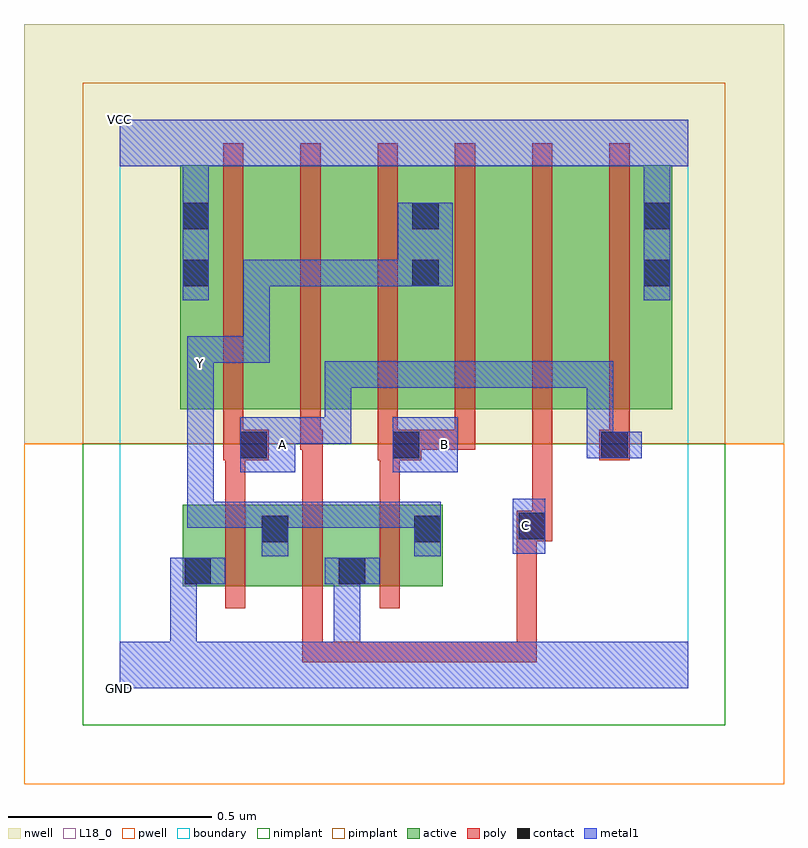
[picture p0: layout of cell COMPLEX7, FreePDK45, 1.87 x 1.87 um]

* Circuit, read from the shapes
.subckt COMPLEX7 A B C GND VCC Y
M1 Y A GND VSUBS nfet w=0.2u l=0.05u
M2 GND C Y VSUBS nfet w=0.2u l=0.05u
M3 Y B GND VSUBS nfet w=0.2u l=0.05u
M4 n1 A VCC n2 pfet w=0.6u l=0.05u
M5 n3 C n1 n2 pfet w=0.6u l=0.05u
M6 Y B n3 n2 pfet w=0.6u l=0.05u
M7 n4 B Y n2 pfet w=0.6u l=0.05u
M8 n5 C n4 n2 pfet w=0.6u l=0.05u
M9 VCC A n5 n2 pfet w=0.6u l=0.05u
.ends

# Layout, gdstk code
import gdstk
lib = gdstk.Library(unit=1e-6, precision=1e-09)
def R(c, l, rs):  # rectangles x0, y0, x1, y1
    for r in rs: c.add(gdstk.rectangle(r[:2], r[2:], *l))
def A(c, l, x, y, w, h, nx, ny, dx, dy):  # array of equal rectangles
    R(c, l, [(x+i*dx, y+j*dy, x+i*dx+w, y+j*dy+h) for i in range(nx) for j in range(ny)])
active = (1, 0)
pwell = (2, 0)
nwell = (3, 0)
nimplant = (4, 0)
pimplant = (5, 0)
poly = (9, 0)
contact = (10, 0)
metal1 = (11, 0)
L18_0 = (18, 0)
boundary = (235, 0)

complex7 = lib.new_cell('COMPLEX7')
R(complex7, active, [(0.155,0.252,0.42,0.452), (0.155,0.252,0.23,0.452), (0.345,0.252,0.61,0.452), (0.345,0.252,0.42,0.43), (0.535,0.252,0.795,0.452), (0.535,0.252,0.61,0.362), (0.72,0.332,0.795,0.452), (0.15,0.687,0.375,1.287), (0.15,0.687,0.225,1.257), (0.375,0.687,0.565,1.287), (0.565,0.687,0.79,1.287), (0.715,0.687,0.945,1.287), (0.945,0.687,1.135,1.287), (1.135,0.687,1.36,1.287), (1.285,0.687,1.36,1.287), (0.715,0.707,0.79,1.2)])
R(complex7, pwell, [(-0.235,-0.235,1.635,0.602)])
R(complex7, nwell, [(-0.235,0.602,1.635,1.635)])
R(complex7, nimplant, [(-0.09,-0.09,1.49,0.602)])
R(complex7, pimplant, [(-0.09,0.602,1.49,1.49)])
A(complex7, poly, 0.26, 0.197, 0.05, 0.31, 3, 1, 0.19, 0)
A(complex7, poly, 0.255, 0.587, 0.05, 0.095, 4, 1, 0.19, 0)
A(complex7, poly, 0.255, 0.632, 0.05, 0.71, 6, 1, 0.19, 0)
R(complex7, poly, [(0.45,0.065,0.5,0.115), (0.45,0.065,0.5,0.115), (0.45,0.065,0.5,0.115), (0.45,0.065,0.742,0.115), (0.45,0.065,0.5,0.247), (0.692,0.065,0.742,0.115), (0.692,0.065,0.837,0.115), (0.787,0.065,0.837,0.115), (0.787,0.065,0.885,0.115), (0.835,0.065,0.885,0.115), (0.835,0.065,1.027,0.115), (0.977,0.065,1.027,0.115), (0.977,0.065,1.027,0.115), (0.977,0.065,1.027,0.115), (0.977,0.065,1.027,0.115), (0.977,0.065,1.027,0.115), (0.977,0.065,1.027,0.412), (0.977,0.362,1.027,0.412), (0.977,0.362,1.027,0.412), (0.977,0.362,1.065,0.437), (1.015,0.387,1.065,0.682), (0.26,0.457,0.31,0.612), (0.45,0.457,0.5,0.637), (0.64,0.457,0.69,0.612), (0.255,0.562,0.367,0.637), (0.635,0.562,0.742,0.637), (1.18,0.562,1.255,0.637), (0.445,0.587,0.5,0.637), (0.692,0.587,0.742,0.637), (0.692,0.587,0.742,0.637), (0.692,0.587,0.875,0.637), (0.825,0.587,0.875,0.637), (1.205,0.587,1.255,0.682)])
R(complex7, contact, [(0.16,0.257,0.225,0.322), (0.54,0.257,0.605,0.322), (0.35,0.36,0.415,0.425), (0.725,0.36,0.79,0.425), (0.982,0.367,1.047,0.432), (0.297,0.567,0.362,0.632), (0.672,0.567,0.737,0.632), (1.185,0.567,1.25,0.632), (0.155,0.99,0.22,1.055), (0.72,0.99,0.785,1.055), (1.29,0.99,1.355,1.055), (0.155,1.13,0.22,1.195), (0.72,1.13,0.785,1.195), (1.29,1.13,1.355,1.195)])
R(complex7, metal1, [(0,0,1.4,0.115), (0.125,0.05,0.19,0.322), (0.527,0.05,0.592,0.245), (0.527,0.18,0.592,0.245), (0.527,0.18,0.592,0.245), (0.527,0.18,0.592,0.245), (0.527,0.18,0.592,0.322), (0.125,0.257,0.19,0.322), (0.125,0.257,0.19,0.322), (0.125,0.257,0.19,0.322), (0.125,0.257,0.19,0.322), (0.125,0.257,0.26,0.322), (0.505,0.257,0.64,0.322), (0.35,0.325,0.415,0.46), (0.725,0.325,0.79,0.46), (0.967,0.332,1.047,0.467), (0.167,0.395,0.232,0.46), (0.167,0.395,0.415,0.46), (0.167,0.395,0.232,0.797), (0.35,0.395,0.415,0.46), (0.35,0.395,0.415,0.46), (0.35,0.395,0.57,0.46), (0.505,0.395,0.57,0.46), (0.505,0.395,0.57,0.46), (0.505,0.395,0.57,0.46), (0.505,0.395,0.757,0.46), (0.692,0.395,0.757,0.46), (0.692,0.395,0.79,0.46), (0.297,0.532,0.432,0.667), (0.672,0.532,0.832,0.667), (1.15,0.567,1.215,0.632), (1.15,0.567,1.215,0.632), (1.15,0.567,1.285,0.632), (1.15,0.567,1.215,0.805), (0.367,0.602,0.432,0.667), (0.367,0.602,0.432,0.667), (0.367,0.602,0.57,0.667), (0.505,0.602,0.57,0.667), (0.505,0.602,0.57,0.667), (0.505,0.602,0.57,0.667), (0.505,0.602,0.57,0.805), (0.167,0.732,0.232,0.867), (0.505,0.74,0.57,0.805), (0.505,0.74,0.757,0.805), (0.692,0.74,0.757,0.805), (0.692,0.74,0.757,0.805), (0.692,0.74,0.757,0.805), (0.692,0.74,0.895,0.805), (0.83,0.74,0.895,0.805), (0.83,0.74,1.032,0.805), (0.967,0.74,1.032,0.805), (0.967,0.74,1.032,0.805), (0.967,0.74,1.032,0.805), (0.967,0.74,1.215,0.805), (1.15,0.74,1.215,0.805), (0.167,0.802,0.232,0.867), (0.167,0.802,0.232,0.867), (0.167,0.802,0.37,0.867), (0.305,0.802,0.37,0.867), (0.305,0.802,0.37,0.867), (0.305,0.802,0.37,0.867), (0.305,0.802,0.37,1.055), (0.155,0.955,0.22,1.23), (1.29,0.955,1.355,1.23), (0.305,0.99,0.37,1.055), (0.305,0.99,0.57,1.055), (0.505,0.99,0.57,1.055), (0.505,0.99,0.57,1.055), (0.505,0.99,0.57,1.055), (0.505,0.99,0.75,1.055), (0.685,0.99,0.75,1.055), (0.685,0.99,0.75,1.055), (0.685,0.99,0.82,1.195), (0.155,1.165,0.22,1.35), (1.29,1.165,1.355,1.35), (0,1.285,1.4,1.4)])
R(complex7, L18_0, [(0,0,1.4,0.115), (0.125,0.05,0.19,0.322), (0.527,0.05,0.592,0.245), (0.527,0.18,0.592,0.245), (0.527,0.18,0.592,0.245), (0.527,0.18,0.592,0.245), (0.527,0.18,0.592,0.322), (0.125,0.257,0.19,0.322), (0.125,0.257,0.19,0.322), (0.125,0.257,0.19,0.322), (0.125,0.257,0.19,0.322), (0.125,0.257,0.26,0.322), (0.505,0.257,0.64,0.322), (0.35,0.325,0.415,0.46), (0.725,0.325,0.79,0.46), (0.967,0.332,1.047,0.467), (0.967,0.367,1.032,0.432), (0.167,0.395,0.232,0.46), (0.167,0.395,0.232,0.797), (0.167,0.395,0.415,0.46), (0.35,0.395,0.415,0.46), (0.35,0.395,0.415,0.46), (0.35,0.395,0.57,0.46), (0.505,0.395,0.57,0.46), (0.505,0.395,0.57,0.46), (0.505,0.395,0.57,0.46), (0.505,0.395,0.757,0.46), (0.692,0.395,0.757,0.46), (0.692,0.395,0.79,0.46), (0.297,0.532,0.432,0.667), (0.672,0.532,0.832,0.667), (0.367,0.567,0.432,0.632), (0.767,0.567,0.832,0.632), (1.15,0.567,1.215,0.632), (1.15,0.567,1.215,0.632), (1.15,0.567,1.285,0.632), (1.15,0.567,1.215,0.805), (0.367,0.602,0.432,0.667), (0.367,0.602,0.432,0.667), (0.367,0.602,0.57,0.667), (0.505,0.602,0.57,0.667), (0.505,0.602,0.57,0.667), (0.505,0.602,0.57,0.667), (0.505,0.602,0.57,0.805), (0.167,0.732,0.232,0.867), (0.505,0.74,0.57,0.805), (0.505,0.74,0.757,0.805), (0.692,0.74,0.757,0.805), (0.692,0.74,0.757,0.805), (0.692,0.74,0.757,0.805), (0.692,0.74,0.895,0.805), (0.83,0.74,0.895,0.805), (0.83,0.74,1.032,0.805), (0.967,0.74,1.032,0.805), (0.967,0.74,1.032,0.805), (0.967,0.74,1.032,0.805), (0.967,0.74,1.215,0.805), (1.15,0.74,1.215,0.805), (0.167,0.767,0.232,0.832), (0.167,0.802,0.232,0.867), (0.167,0.802,0.232,0.867), (0.167,0.802,0.37,0.867), (0.305,0.802,0.37,0.867), (0.305,0.802,0.37,0.867), (0.305,0.802,0.37,0.867), (0.305,0.802,0.37,1.055), (0.155,0.955,0.22,1.23), (1.29,0.955,1.355,1.23), (0.305,0.99,0.37,1.055), (0.305,0.99,0.57,1.055), (0.505,0.99,0.57,1.055), (0.505,0.99,0.57,1.055), (0.505,0.99,0.57,1.055), (0.505,0.99,0.75,1.055), (0.685,0.99,0.75,1.055), (0.685,0.99,0.75,1.055), (0.685,0.99,0.82,1.195), (0.155,1.165,0.22,1.35), (1.29,1.165,1.355,1.35), (0,1.285,1.4,1.4)])
R(complex7, boundary, [(0,0,1.4,1.4)])
complex7.add(gdstk.Label('A', (0.4,0.6), layer=11, texttype=0))
complex7.add(gdstk.Label('B', (0.8,0.6), layer=11, texttype=0))
complex7.add(gdstk.Label('C', (1,0.4), layer=11, texttype=0))
complex7.add(gdstk.Label('Y', (0.2,0.8), layer=11, texttype=0))
complex7.add(gdstk.Label('VCC', (0,1.4), layer=11, texttype=0))
complex7.add(gdstk.Label('GND', (0,0), layer=11, texttype=0))

lib.write_gds('COMPLEX7.gds')
